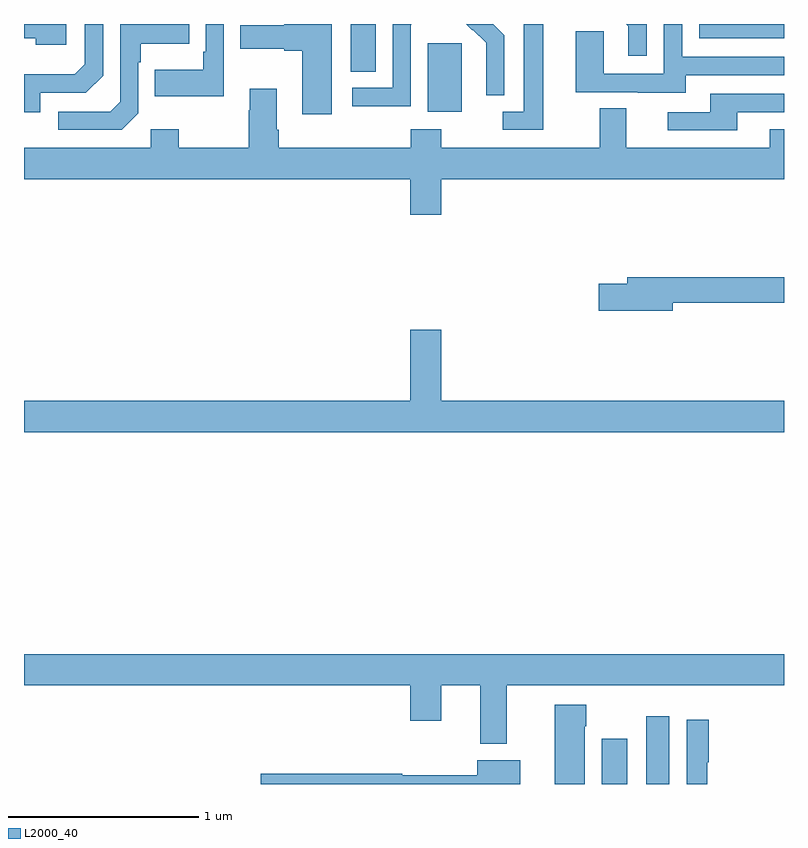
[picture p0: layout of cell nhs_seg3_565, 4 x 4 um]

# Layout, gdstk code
import gdstk
lib = gdstk.Library(unit=1e-6, precision=1e-09)
def R(c, l, rs):  # rectangles x0, y0, x1, y1
    for r in rs: c.add(gdstk.rectangle(r[:2], r[2:], *l))
def P(c, l, *ps):  # polygons
    for p in ps: c.add(gdstk.Polygon(p, *l))
L2000_40 = (2000, 40)

nhs_seg3_565 = lib.new_cell('nhs_seg3_565')
R(nhs_seg3_565, L2000_40, [(142.04,696.4,142.174,696.637), (142.274,696.4,142.396,696.757), (141.125,699.938,141.304,700.299), (140.72,700.15,140.851,700.4), (142.554,700.326,143,700.4)])
P(nhs_seg3_565, L2000_40, [(140.62,700.4),(140.369,700.4),(140.369,700.393),(140.139,700.393),(140.139,700.271),(140.369,700.271),(140.369,700.259),(140.465,700.259),(140.465,699.924),(140.62,699.924)],
  [(141.036,700.396),(141.039,700.396),(141.039,700.4),(140.94,700.4),(140.94,700.065),(140.727,700.065),(140.727,699.967),(141.036,699.967)],
  [(141.528,700.342),(141.47,700.4),(141.328,700.4),(141.36,700.368),(141.363,700.371),(141.434,700.301),(141.434,700.178),(141.432,700.178),(141.432,700.024),(141.528,700.024)],
  [(142.483,700.131),(143,700.131),(143,700.227),(142.464,700.227),(142.464,700.4),(142.368,700.4),(142.368,700.137),(142.05,700.137),(142.05,700.361),(141.905,700.361),(141.905,700.041),(142.229,700.041),(142.229,700.037),(142.483,700.037)],
  [(139.602,699.93),(139.602,700.199),(139.615,700.199),(139.615,700.295),(139.871,700.295),(139.871,700.4),(139.506,700.4),(139.506,699.99),(139.455,699.939),(139.179,699.939),(139.179,699.843),(139.515,699.843)],
  [(139.086,700.038),(139.326,700.038),(139.416,700.128),(139.416,700.4),(139.32,700.4),(139.32,700.188),(139.267,700.135),(139,700.135),(139,699.936),(139.086,699.936)],
  [(140.052,700.4),(139.956,700.4),(139.956,700.255),(139.944,700.255),(139.944,700.159),(139.687,700.159),(139.687,700.019),(140.052,700.019)],
  [(139.222,700.4),(139,700.4),(139,700.326),(139.061,700.326),(139.061,700.292),(139.222,700.292)],
  [(141.733,700.4),(141.629,700.4),(141.629,699.939),(141.519,699.939),(141.519,699.843),(141.733,699.843)],
  [(142.278,700.4),(142.17,700.4),(142.181,700.389),(142.181,700.233),(142.278,700.233)],
  [(141.196,699.584),(143,699.584),(143,699.847),(142.925,699.847),(142.925,699.748),(142.171,699.748),(142.171,699.956),(142.031,699.956),(142.031,699.748),(141.195,699.748),(141.195,699.847),(141.035,699.847),(141.035,699.748),(140.342,699.748),(140.342,699.844),(140.329,699.844),(140.329,700.06),(140.189,700.06),(140.189,699.947),(140.182,699.947),(140.182,699.748),(139.815,699.748),(139.815,699.847),(139.668,699.847),(139.668,699.748),(139,699.748),(139,699.584),(141.032,699.584),(141.032,699.396),(141.196,699.396)],
  [(142.753,699.936),(143,699.936),(143,700.032),(142.613,700.032),(142.613,699.936),(142.389,699.936),(142.389,699.84),(142.753,699.84)],
  [(142.414,698.932),(143,698.932),(143,699.068),(142.175,699.068),(142.175,699.032),(142.026,699.032),(142.026,698.89),(142.414,698.89)],
  [(143,698.416),(141.196,698.416),(141.196,698.791),(141.032,698.791),(141.032,698.416),(139,698.416),(139,698.252),(143,698.252)],
  [(141.541,696.92),(143,696.92),(143,697.084),(139,697.084),(139,696.92),(141.032,696.92),(141.032,696.732),(141.196,696.732),(141.196,696.92),(141.401,696.92),(141.401,696.611),(141.541,696.611)],
  [(141.952,696.704),(141.96,696.704),(141.96,696.817),(141.794,696.817),(141.794,696.4),(141.952,696.4)],
  [(142.597,696.515),(142.604,696.515),(142.604,696.739),(142.488,696.739),(142.488,696.4),(142.597,696.4)],
  [(141.613,696.526),(141.386,696.526),(141.386,696.446),(140.99,696.446),(140.99,696.454),(140.246,696.454),(140.246,696.4),(141.613,696.4)])

lib.write_gds('nhs_seg3_565.gds')
